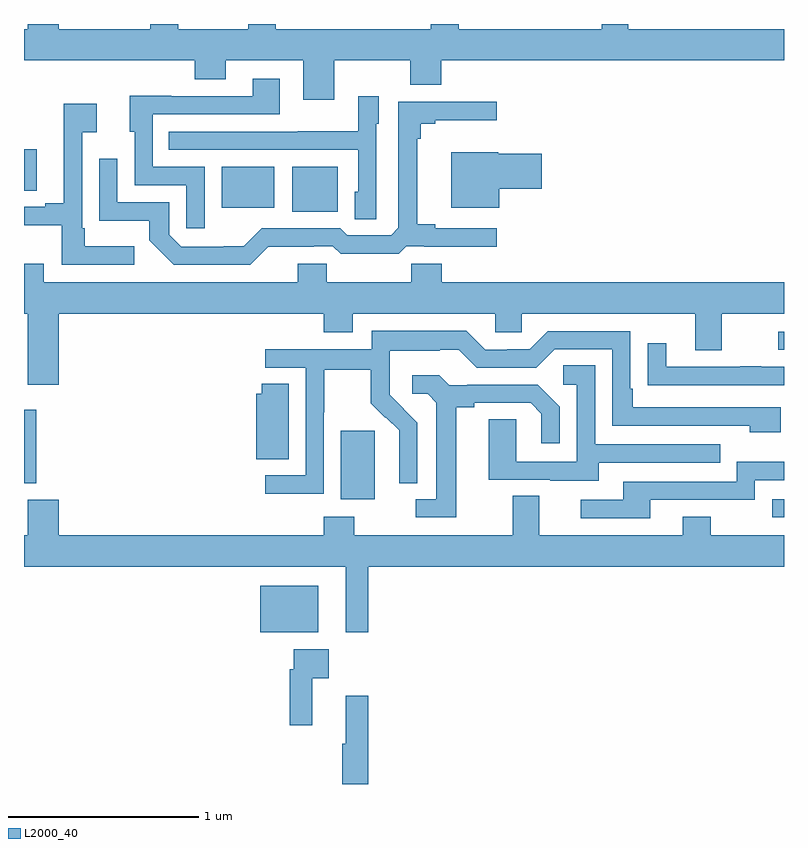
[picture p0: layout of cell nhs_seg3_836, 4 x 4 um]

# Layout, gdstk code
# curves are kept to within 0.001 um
import gdstk
lib = gdstk.Library(unit=1e-6, precision=1e-09)
def R(c, l, rs):  # rectangles x0, y0, x1, y1
    for r in rs: c.add(gdstk.rectangle(r[:2], r[2:], *l))
def P(c, l, *ps):  # polygons
    for p in ps: c.add(gdstk.Polygon(p, *l))
L2000_40 = (2000, 40)

nhs_seg3_836 = lib.new_cell('nhs_seg3_836')
R(nhs_seg3_836, L2000_40, [(154.244,739.199,154.549,739.444), (156.939,739.803,157,739.899), (154.667,739.898,154.846,740.259), (153,739.983,153.065,740.371), (156.969,740.685,157,740.781), (154.412,741.413,154.651,741.649), (154.04,741.434,154.318,741.649), (153,741.523,153.067,741.742)])
P(nhs_seg3_836, L2000_40, [(153.665,742.4),(153.665,742.372),(153.184,742.372),(153.184,742.4),(153.02,742.4),(153.02,742.372),(153,742.372),(153,742.208),(153.899,742.208),(153.899,742.109),(154.063,742.109),(154.063,742.208),(154.469,742.208),(154.469,742.002),(154.633,742.002),(154.633,742.208),(155.033,742.208),(155.033,742.08),(155.197,742.08),(155.197,742.208),(157,742.208),(157,742.372),(156.181,742.372),(156.181,742.4),(156.041,742.4),(156.041,742.372),(155.287,742.372),(155.287,742.4),(155.14,742.4),(155.14,742.372),(154.326,742.372),(154.326,742.4),(154.18,742.4),(154.18,742.372),(153.813,742.372),(153.813,742.4)],
  [(153.951,741.648),(153.678,741.648),(153.678,741.924),(154.345,741.924),(154.345,742.111),(154.205,742.111),(154.205,742.02),(153.775,742.02),(153.775,742.022),(153.557,742.022),(153.557,741.834),(153.582,741.834),(153.582,741.552),(153.855,741.552),(153.855,741.324),(153.951,741.324)],
  [(154.854,741.876),(154.867,741.876),(154.867,742.021),(154.758,742.021),(154.758,741.835),(154.441,741.835),(154.441,741.834),(153.763,741.834),(153.763,741.738),(154.758,741.738),(154.758,741.516),(154.742,741.516),(154.742,741.373),(154.854,741.373)],
  [(154.286,741.227),(154.526,741.227),(154.526,741.231),(154.626,741.231),(154.666,741.192),(154.973,741.192),(155.013,741.231),(155.107,741.231),(155.107,741.227),(155.488,741.227),(155.488,741.324),(155.164,741.324),(155.164,741.347),(155.069,741.347),(155.069,741.797),(155.087,741.797),(155.087,741.874),(155.164,741.874),(155.164,741.893),(155.488,741.893),(155.488,741.99),(154.971,741.99),(154.971,741.327),(154.932,741.288),(154.701,741.288),(154.665,741.324),(154.251,741.324),(154.157,741.23),(154.052,741.23),(154.052,741.228),(153.828,741.228),(153.765,741.291),(153.765,741.462),(153.492,741.462),(153.492,741.691),(153.396,741.691),(153.396,741.365),(153.658,741.365),(153.658,741.263),(153.788,741.132),(154.191,741.132)],
  [(153.58,741.229),(153.319,741.229),(153.319,741.325),(153.306,741.325),(153.306,741.83),(153.382,741.83),(153.382,741.979),(153.209,741.979),(153.209,741.457),(153.113,741.457),(153.113,741.438),(153,741.438),(153,741.341),(153.198,741.341),(153.198,741.132),(153.58,741.132)],
  [(155.5,741.533),(155.725,741.533),(155.725,741.716),(155.496,741.716),(155.496,741.724),(155.249,741.724),(155.249,741.434),(155.5,741.434)],
  [(153.184,740.876),(154.577,740.876),(154.577,740.777),(154.729,740.777),(154.729,740.876),(155.481,740.876),(155.481,740.778),(155.619,740.778),(155.619,740.876),(156.533,740.876),(156.533,740.682),(156.673,740.682),(156.673,740.876),(157,740.876),(157,741.04),(155.198,741.04),(155.198,741.138),(155.038,741.138),(155.038,741.04),(154.593,741.04),(154.593,741.138),(154.442,741.138),(154.442,741.04),(153.103,741.04),(153.103,741.139),(153,741.139),(153,740.876),(153.02,740.876),(153.02,740.502),(153.184,740.502)],
  [(154.578,740.356),(154.581,740.356),(154.581,740.58),(154.825,740.58),(154.825,740.405),(154.902,740.328),(154.905,740.331),(154.976,740.261),(154.976,740.138),(154.974,740.138),(154.974,739.984),(155.07,739.984),(155.07,740.302),(154.924,740.45),(154.924,740.547),(154.926,740.547),(154.926,740.681),(155.189,740.681),(155.189,740.685),(155.289,740.685),(155.382,740.592),(155.697,740.592),(155.793,740.688),(156.096,740.688),(156.096,740.286),(156.821,740.286),(156.821,740.252),(156.982,740.252),(156.982,740.382),(156.205,740.382),(156.205,740.479),(156.192,740.479),(156.192,740.784),(155.757,740.784),(155.661,740.688),(155.543,740.688),(155.543,740.685),(155.427,740.685),(155.327,740.785),(154.83,740.785),(154.83,740.688),(154.269,740.688),(154.269,740.592),(154.482,740.592),(154.482,740.025),(154.269,740.025),(154.269,739.927),(154.578,739.927)],
  [(157,740.595),(156.881,740.595),(156.881,740.6),(156.769,740.6),(156.769,740.595),(156.379,740.595),(156.379,740.719),(156.283,740.719),(156.283,740.5),(156.385,740.5),(156.385,740.499),(157,740.499)],
  [(156.025,740.091),(156.665,740.091),(156.665,740.187),(156.006,740.187),(156.006,740.603),(155.838,740.603),(155.838,740.502),(155.91,740.502),(155.91,740.097),(155.592,740.097),(155.592,740.321),(155.447,740.321),(155.447,740.001),(155.771,740.001),(155.771,739.997),(156.025,739.997)],
  [(155.275,740.384),(155.371,740.384),(155.371,740.406),(155.666,740.406),(155.723,740.349),(155.723,740.193),(155.82,740.193),(155.82,740.386),(155.704,740.502),(155.332,740.502),(155.332,740.499),(155.238,740.499),(155.186,740.551),(155.043,740.551),(155.043,740.454),(155.124,740.454),(155.171,740.407),(155.171,739.899),(155.061,739.899),(155.061,739.803),(155.275,739.803)],
  [(154.393,740.507),(154.25,740.507),(154.25,740.454),(154.223,740.454),(154.223,740.11),(154.393,740.11)],
  [(156.295,739.896),(156.846,739.896),(156.846,739.998),(157,739.998),(157,740.095),(156.75,740.095),(156.75,739.992),(156.155,739.992),(156.155,739.896),(155.931,739.896),(155.931,739.8),(156.295,739.8)],
  [(157,739.708),(156.615,739.708),(156.615,739.807),(156.467,739.807),(156.467,739.708),(155.713,739.708),(155.713,739.916),(155.573,739.916),(155.573,739.708),(154.737,739.708),(154.737,739.807),(154.577,739.807),(154.577,739.708),(153.184,739.708),(153.184,739.897),(153.02,739.897),(153.02,739.708),(153,739.708),(153,739.544),(154.694,739.544),(154.694,739.2),(154.811,739.2),(154.811,739.544),(157,739.544)],
  [(154.517,738.956),(154.603,738.956),(154.603,739.108),(154.419,739.108),(154.419,739.004),(154.399,739.004),(154.399,738.708),(154.517,738.708)],
  [(154.811,738.865),(154.694,738.865),(154.694,738.612),(154.675,738.612),(154.675,738.4),(154.811,738.4)])

lib.write_gds('nhs_seg3_836.gds')
